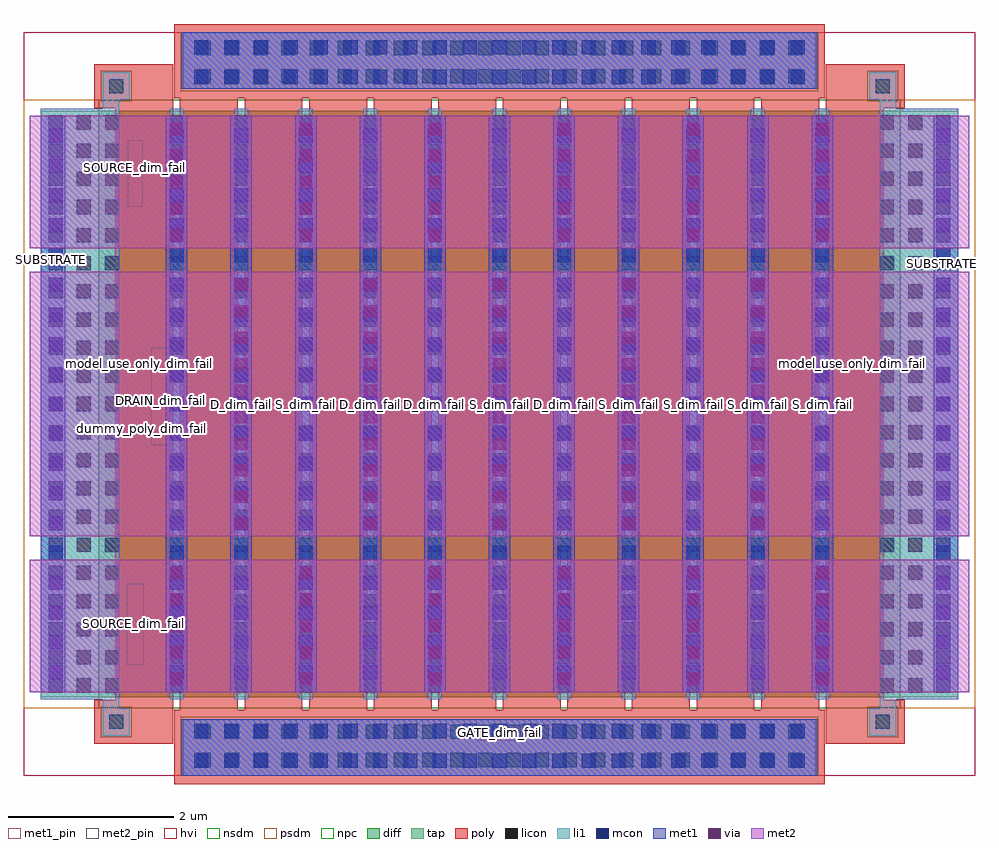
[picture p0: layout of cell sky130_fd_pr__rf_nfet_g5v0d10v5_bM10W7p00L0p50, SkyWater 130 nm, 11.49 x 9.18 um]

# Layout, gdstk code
import gdstk
lib = gdstk.Library(unit=1e-6, precision=1e-09)
def R(c, l, rs):  # rectangles x0, y0, x1, y1
    for r in rs: c.add(gdstk.rectangle(r[:2], r[2:], *l))
def A(c, l, x, y, w, h, nx, ny, dx, dy):  # array of equal rectangles
    R(c, l, [(x+i*dx, y+j*dy, x+i*dx+w, y+j*dy+h) for i in range(nx) for j in range(ny)])
def P(c, l, *ps):  # polygons
    for p in ps: c.add(gdstk.Polygon(p, *l))
diff = (65, 20)
tap = (65, 44)
poly = (66, 20)
licon = (66, 44)
li1 = (67, 20)
mcon = (67, 44)
met1_pin = (68, 16)
met1 = (68, 20)
via = (68, 44)
met2_pin = (69, 16)
met2 = (69, 20)
hvi = (75, 20)
nsdm = (93, 44)
psdm = (94, 20)
npc = (95, 20)

sky130_fd_pr__rf_nfet_g5 = lib.new_cell('sky130_fd_pr__rf_nfet_g5v0d10v5_bM10W7p00L0p50')
R(sky130_fd_pr__rf_nfet_g5, diff, [(0.905,0.945,10.585,8.035)])
R(sky130_fd_pr__rf_nfet_g5, tap, [(0.205,0.945,0.905,8.035), (10.585,0.945,11.285,8.035)])
P(sky130_fd_pr__rf_nfet_g5, poly, [(0.85,0.385),(0.85,0.915),(1.105,0.915),(1.105,8.065),(0.85,8.065),(0.85,8.595),(1.805,8.595),(1.805,0.385)],
  [(9.685,0.385),(9.685,8.595),(10.64,8.595),(10.64,8.065),(10.385,8.065),(10.385,0.915),(10.64,0.915),(10.64,0.385)],
  [(1.815,-0.1),(1.815,0.795),(1.885,0.795),(1.885,8.185),(2.585,8.185),(2.585,0.795),(2.665,0.795),(2.665,8.185),(3.365,8.185),(3.365,0.795),(3.445,0.795),(3.445,8.185),(4.145,8.185),(4.145,0.795),(4.225,0.795),(4.225,8.185),(4.925,8.185),(4.925,0.795),(5.005,0.795),(5.005,8.185),(5.705,8.185),(5.705,0.795),(5.785,0.795),(5.785,8.185),(6.485,8.185),(6.485,0.795),(6.565,0.795),(6.565,8.185),(7.265,8.185),(7.265,0.795),(7.345,0.795),(7.345,8.185),(8.045,8.185),(8.045,0.795),(8.125,0.795),(8.125,8.185),(8.825,8.185),(8.825,0.795),(8.905,0.795),(8.905,8.185),(1.815,8.185),(1.815,9.08),(9.675,9.08),(9.675,8.185),(9.605,8.185),(9.605,0.795),(9.675,0.795),(9.675,-0.1)])
A(sky130_fd_pr__rf_nfet_g5, licon, 2.09, 0.105, 0.17, 0.17, 22, 2, 0.34, 0.34)
A(sky130_fd_pr__rf_nfet_g5, licon, 0.3, 1.005, 0.17, 0.17, 3, 21, 0.34, 0.34)
A(sky130_fd_pr__rf_nfet_g5, licon, 1.76, 1.005, 0.17, 0.17, 12, 21, 0.78, 0.34)
A(sky130_fd_pr__rf_nfet_g5, licon, 10.68, 1.005, 0.17, 0.17, 1, 21, 0, 0.34)
A(sky130_fd_pr__rf_nfet_g5, licon, 11.02, 1.005, 0.17, 0.17, 1, 21, 0, 0.34)
A(sky130_fd_pr__rf_nfet_g5, licon, 2.09, 8.365, 0.17, 0.17, 22, 2, 0.34, 0.34)
R(sky130_fd_pr__rf_nfet_g5, licon, [(1.03,0.565,1.2,0.735), (10.29,0.565,10.46,0.735), (1.03,8.245,1.2,8.415), (10.29,8.245,10.46,8.415)])
A(sky130_fd_pr__rf_nfet_g5, li1, 1.76, 0.925, 0.17, 7.13, 11, 1, 0.78, 0)
A(sky130_fd_pr__rf_nfet_g5, li1, 1.76, 3.145, 0.17, 2.69, 11, 1, 0.78, 0)
R(sky130_fd_pr__rf_nfet_g5, li1, [(1.925,0,9.565,0.685), (0.95,0.485,1.28,0.815), (10.21,0.485,10.54,0.815), (0.95,0.815,1.15,0.925), (10.34,0.815,10.54,0.925), (0.205,0.925,1.15,8.055), (10.34,0.925,11.285,8.055), (0.95,8.055,1.15,8.165), (10.34,8.055,10.54,8.165), (0.95,8.165,1.28,8.495), (10.21,8.165,10.54,8.495), (1.925,8.295,9.565,8.98)])
A(sky130_fd_pr__rf_nfet_g5, mcon, 2.06, 0.095, 0.17, 0.17, 21, 2, 0.36, 0.36)
A(sky130_fd_pr__rf_nfet_g5, mcon, 0.3, 1.165, 0.17, 0.17, 1, 19, 0, 0.36)
A(sky130_fd_pr__rf_nfet_g5, mcon, 1.76, 1.165, 0.17, 0.17, 11, 19, 0.78, 0.36)
A(sky130_fd_pr__rf_nfet_g5, mcon, 11.02, 1.165, 0.17, 0.17, 1, 19, 0, 0.36)
A(sky130_fd_pr__rf_nfet_g5, mcon, 2.06, 8.355, 0.17, 0.17, 21, 2, 0.36, 0.36)
R(sky130_fd_pr__rf_nfet_g5, met1_pin, [(5.49,0.425,5.975,0.6), (10.99,6.105,11.285,6.255), (0.205,6.155,0.5,6.305), (5.48,8.365,6.09,8.53)])
A(sky130_fd_pr__rf_nfet_g5, met1, 1.715, 1.01, 0.26, 1.6, 6, 2, 1.56, 5.36)
A(sky130_fd_pr__rf_nfet_g5, met1, 1.715, 1.01, 0.26, 6.96, 11, 1, 0.78, 0)
A(sky130_fd_pr__rf_nfet_g5, met1, 2.495, 2.89, 0.26, 3.2, 5, 1, 1.56, 0)
R(sky130_fd_pr__rf_nfet_g5, met1, [(1.905,0,9.585,0.685), (0.205,1.01,0.5,7.97), (10.99,1.01,11.285,7.97), (1.905,8.295,9.585,8.98)])
A(sky130_fd_pr__rf_nfet_g5, via, 1.77, 1.095, 0.15, 0.15, 6, 5, 1.56, 0.32)
A(sky130_fd_pr__rf_nfet_g5, via, 2.55, 2.975, 0.15, 0.15, 5, 10, 1.56, 0.32)
A(sky130_fd_pr__rf_nfet_g5, via, 1.77, 6.455, 0.15, 0.15, 6, 5, 1.56, 0.32)
R(sky130_fd_pr__rf_nfet_g5, met2_pin, [(1.24,1.34,1.45,2.32), (1.54,3.99,1.745,5.17), (1.255,6.87,1.435,7.675)])
A(sky130_fd_pr__rf_nfet_g5, met2, 1.715, 1.01, 0.26, 1.6, 6, 2, 1.56, 5.36)
A(sky130_fd_pr__rf_nfet_g5, met2, 2.495, 2.89, 0.26, 3.2, 5, 1, 1.56, 0)
R(sky130_fd_pr__rf_nfet_g5, met2, [(0.07,1.01,11.42,2.61), (0.07,2.89,11.42,6.09), (0.07,6.37,11.42,7.97)])
R(sky130_fd_pr__rf_nfet_g5, hvi, [(0,0,11.49,8.98)])
R(sky130_fd_pr__rf_nfet_g5, nsdm, [(0.905,0.815,10.585,8.165)])
R(sky130_fd_pr__rf_nfet_g5, psdm, [(0,0.815,0.905,8.165), (10.585,0.815,11.49,8.165)])
R(sky130_fd_pr__rf_nfet_g5, npc, [(1.895,0,9.595,0.715), (0.93,0.465,1.3,0.835), (10.19,0.465,10.56,0.835), (0.93,8.145,1.3,8.515), (10.19,8.145,10.56,8.515), (1.895,8.265,9.595,8.98)])
sky130_fd_pr__rf_nfet_g5.add(gdstk.Label('GATE_dim_fail', (5.745,0.52), layer=68, texttype=5))
sky130_fd_pr__rf_nfet_g5.add(gdstk.Label('SOURCE_dim_fail', (1.335,7.345), layer=69, texttype=5))
sky130_fd_pr__rf_nfet_g5.add(gdstk.Label('DRAIN_dim_fail', (1.645,4.53), layer=69, texttype=5))
sky130_fd_pr__rf_nfet_g5.add(gdstk.Label('SOURCE_dim_fail', (1.32,1.84), layer=69, texttype=5))
sky130_fd_pr__rf_nfet_g5.add(gdstk.Label('SUBSTRATE', (11.1,6.185), layer=68, texttype=16))
sky130_fd_pr__rf_nfet_g5.add(gdstk.Label('SUBSTRATE', (0.335,6.235), layer=68, texttype=16))
sky130_fd_pr__rf_nfet_g5.add(gdstk.Label('S_dim_fail', (9.645,4.49), layer=83, texttype=44))
sky130_fd_pr__rf_nfet_g5.add(gdstk.Label('S_dim_fail', (8.865,4.49), layer=83, texttype=44))
sky130_fd_pr__rf_nfet_g5.add(gdstk.Label('D_dim_fail', (8.865,4.49), layer=83, texttype=44))
sky130_fd_pr__rf_nfet_g5.add(gdstk.Label('S_dim_fail', (8.085,4.49), layer=83, texttype=44))
sky130_fd_pr__rf_nfet_g5.add(gdstk.Label('S_dim_fail', (8.085,4.49), layer=83, texttype=44))
sky130_fd_pr__rf_nfet_g5.add(gdstk.Label('S_dim_fail', (7.305,4.49), layer=83, texttype=44))
sky130_fd_pr__rf_nfet_g5.add(gdstk.Label('D_dim_fail', (7.305,4.49), layer=83, texttype=44))
sky130_fd_pr__rf_nfet_g5.add(gdstk.Label('D_dim_fail', (6.525,4.49), layer=83, texttype=44))
sky130_fd_pr__rf_nfet_g5.add(gdstk.Label('S_dim_fail', (6.525,4.49), layer=83, texttype=44))
sky130_fd_pr__rf_nfet_g5.add(gdstk.Label('S_dim_fail', (5.745,4.49), layer=83, texttype=44))
sky130_fd_pr__rf_nfet_g5.add(gdstk.Label('S_dim_fail', (5.745,4.49), layer=83, texttype=44))
sky130_fd_pr__rf_nfet_g5.add(gdstk.Label('D_dim_fail', (4.965,4.49), layer=83, texttype=44))
sky130_fd_pr__rf_nfet_g5.add(gdstk.Label('S_dim_fail', (4.965,4.49), layer=83, texttype=44))
sky130_fd_pr__rf_nfet_g5.add(gdstk.Label('D_dim_fail', (4.185,4.49), layer=83, texttype=44))
sky130_fd_pr__rf_nfet_g5.add(gdstk.Label('S_dim_fail', (4.185,4.49), layer=83, texttype=44))
sky130_fd_pr__rf_nfet_g5.add(gdstk.Label('S_dim_fail', (3.405,4.49), layer=83, texttype=44))
sky130_fd_pr__rf_nfet_g5.add(gdstk.Label('S_dim_fail', (3.405,4.49), layer=83, texttype=44))
sky130_fd_pr__rf_nfet_g5.add(gdstk.Label('D_dim_fail', (2.625,4.49), layer=83, texttype=44))
sky130_fd_pr__rf_nfet_g5.add(gdstk.Label('S_dim_fail', (2.625,4.49), layer=83, texttype=44))
sky130_fd_pr__rf_nfet_g5.add(gdstk.Label('S_dim_fail', (1.845,4.49), layer=83, texttype=44))
sky130_fd_pr__rf_nfet_g5.add(gdstk.Label('S_dim_fail', (1.845,4.49), layer=83, texttype=44))
sky130_fd_pr__rf_nfet_g5.add(gdstk.Label('dummy_poly_dim_fail', (10.01,4.335), layer=83, texttype=44))
sky130_fd_pr__rf_nfet_g5.add(gdstk.Label('dummy_poly_dim_fail', (1.415,4.2), layer=83, texttype=44))
sky130_fd_pr__rf_nfet_g5.add(gdstk.Label('model_use_only_dim_fail', (2.21,4.6), layer=66, texttype=83))
sky130_fd_pr__rf_nfet_g5.add(gdstk.Label('model_use_only_dim_fail', (2.975,4.645), layer=66, texttype=83))
sky130_fd_pr__rf_nfet_g5.add(gdstk.Label('model_use_only_dim_fail', (3.75,4.57), layer=66, texttype=83))
sky130_fd_pr__rf_nfet_g5.add(gdstk.Label('model_use_only_dim_fail', (4.555,4.645), layer=66, texttype=83))
sky130_fd_pr__rf_nfet_g5.add(gdstk.Label('model_use_only_dim_fail', (5.3,4.615), layer=66, texttype=83))
sky130_fd_pr__rf_nfet_g5.add(gdstk.Label('model_use_only_dim_fail', (6.09,4.585), layer=66, texttype=83))
sky130_fd_pr__rf_nfet_g5.add(gdstk.Label('model_use_only_dim_fail', (6.91,4.63), layer=66, texttype=83))
sky130_fd_pr__rf_nfet_g5.add(gdstk.Label('model_use_only_dim_fail', (7.67,4.615), layer=66, texttype=83))
sky130_fd_pr__rf_nfet_g5.add(gdstk.Label('model_use_only_dim_fail', (8.46,4.6), layer=66, texttype=83))
sky130_fd_pr__rf_nfet_g5.add(gdstk.Label('model_use_only_dim_fail', (9.205,4.54), layer=66, texttype=83))
sky130_fd_pr__rf_nfet_g5.add(gdstk.Label('model_use_only_dim_fail', (1.4,4.975), layer=66, texttype=83))
sky130_fd_pr__rf_nfet_g5.add(gdstk.Label('model_use_only_dim_fail', (10.01,4.975), layer=66, texttype=83))

lib.write_gds('sky130_fd_pr__rf_nfet_g5v0d10v5_bM10W7p00L0p50.gds')
